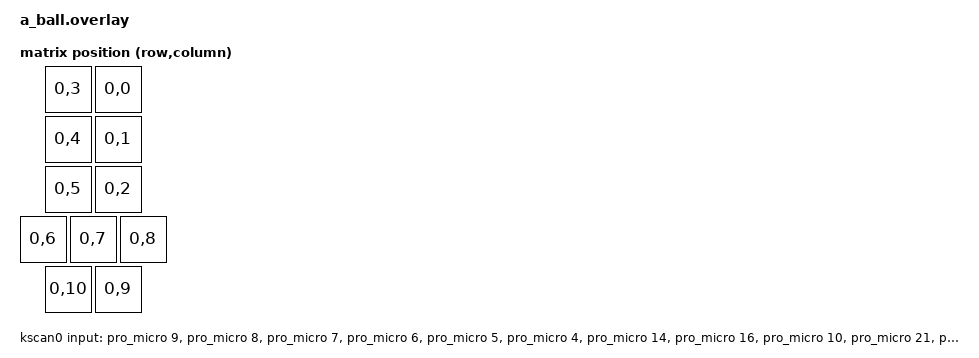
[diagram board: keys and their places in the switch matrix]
#include <dt-bindings/zmk/matrix_transform.h>
#include <input/processors.dtsi>
#include <dt-bindings/zmk/input_transform.h>
#include "a_ball.dtsi"

/ {
    chosen {
        zmk,kscan = &kscan0;
	zmk,matrix_transform = &default_transform;
    };


    default_transform: keymap_transform_0 {
        compatible = "zmk,matrix-transform";
        columns = <1>;
        rows = <11>;
	/* Map represents trackball in "Landscape" orientation, aka Finger-controlled. */
        map = <
		                 /* Ball */
	         	RC(0,3)              RC(0,0) 
		 RC(0,4)                            RC(0,1)
   		 RC(0,5) 	                    RC(0,2) 
                  /* Buttons on top of the middle deck */
  		       /* Unlock  BTSelect BTReset */ 
                          RC(0,6) RC(0,7)  RC(0,8)        
               /* Slider switches on the bottom of the middle deck */
		/* Handiness L/R   Orientation Thumb/Fingers  */
                      RC(0,10)               RC(0,9)      
        >;
    };

    kscan0: kscan {
        compatible = "zmk,kscan-gpio-direct";
        wakeup-source;
        input-gpios
            = <&pro_micro 9 (GPIO_ACTIVE_LOW | GPIO_PULL_UP)>  /* Button 1 */
            , <&pro_micro 8 (GPIO_ACTIVE_LOW | GPIO_PULL_UP)>  /* Button 2 */
            , <&pro_micro 7 (GPIO_ACTIVE_LOW | GPIO_PULL_UP)>  /* Button 3 */
            , <&pro_micro 6 (GPIO_ACTIVE_LOW | GPIO_PULL_UP)>  /* Button 4 */
            , <&pro_micro 5 (GPIO_ACTIVE_LOW | GPIO_PULL_UP)>  /* Button 5 */
            , <&pro_micro 4 (GPIO_ACTIVE_LOW | GPIO_PULL_UP)>  /* Button 6 */

            , <&pro_micro 14 (GPIO_ACTIVE_LOW | GPIO_PULL_UP)> /* Studio Unlock */
            , <&pro_micro 16 (GPIO_ACTIVE_LOW | GPIO_PULL_UP)> /* BT Select */
            , <&pro_micro 10 (GPIO_ACTIVE_LOW | GPIO_PULL_UP)> /* BT Reset  */
            , <&pro_micro 21 (GPIO_ACTIVE_LOW | GPIO_PULL_UP)> /* Handness: Pressed - Right, Released - Left */
 	    , <&pro_micro 20 (GPIO_ACTIVE_LOW | GPIO_PULL_UP)> /* Orientation: Pressed - Fingers, Released - Thumbs */
            ;
    };

};

&pinctrl {
    spi0_default: spi0_default {
        group1 {
            psels = <NRF_PSEL(SPIM_SCK, 0, 8)>,
                <NRF_PSEL(SPIM_MOSI, 0, 17)>,
                <NRF_PSEL(SPIM_MISO, 0, 17)>;
        };
    };

    spi0_sleep: spi0_sleep {
        group1 {
            psels = <NRF_PSEL(SPIM_SCK, 0, 8)>,
                <NRF_PSEL(SPIM_MOSI, 0, 17)>,
                <NRF_PSEL(SPIM_MISO, 0, 17)>;
            low-power-enable;
        };
    };
};

#include <zephyr/dt-bindings/input/input-event-codes.h>

&spi0 {
    status = "okay";
    compatible = "nordic,nrf-spim";
    pinctrl-0 = <&spi0_default>;
    pinctrl-1 = <&spi0_sleep>;
    pinctrl-names = "default", "sleep";
    cs-gpios = <&gpio0 20 GPIO_ACTIVE_LOW>;

    trackball: trackball@0 {
        status = "okay";
        compatible = "pixart,pmw3610";
        reg = <0>;
        spi-max-frequency = <2000000>;
        irq-gpios = <&gpio0 6 (GPIO_ACTIVE_LOW | GPIO_PULL_UP)>;
        cpi = <600>;
        evt-type = <INPUT_EV_REL>;
        x-input-code = <INPUT_REL_X>;
        y-input-code = <INPUT_REL_Y>;

        force-awake;
        /* keep the sensor awake while ZMK activity state is ACTIVE,
           fallback to normal downshift mode after ZMK goes into IDLE / SLEEP mode.
           thus, the sensor would be a `wakeup-source` */
    };
};
                              
/ {
  trackball_listener {
    compatible = "zmk,input-listener";
    device = <&trackball>;
    /* base processor chain on all layers */
    /* input-processors = <&zip_xy_scaler 5 5>; */

    /* layer-0 right left hand pointer */
    /* This default layer should not have any additional transformations. 
       All other layers will add to it, and then have all those extra steps removed
       when returned to the base layer.
    */

    /* layer-1 left hand pointer */
    left_hand_pointer: left_hand_pointer {
        layers           = <1>;
        input-processors = <
            &zip_xy_transform (INPUT_TRANSFORM_X_INVERT | INPUT_TRANSFORM_Y_INVERT) // Inverts the pointer direction
	   // The regular scrolling assumes the scroling wheel, which is not used here, so &zip_scroll_transform is not applicable and does not work.
	   // &zip_scroll_transform (INPUT_TRANSFORM_X_INVERT | INPUT_TRANSFORM_Y_INVERT) // Inverts the pointer direction, from the default inversion..
        >;
	process-next; // To process the scroller layer, if/when it is activated. Without this command the processing would stop here.
    };

    /* layer-2 both hand scroll override */
    either_hand_scroller: either_hand_scroller {
        layers           = <2>;
        input-processors = <
            &zip_xy_transform (INPUT_TRANSFORM_X_INVERT | INPUT_TRANSFORM_Y_INVERT) // Inverts the pointer direction.
            &zip_xy_scaler 1 15                              // Scales the scroll speed
            &zip_xy_to_scroll_mapper                         // Converts XY movement to scroll events
        >;
    };



  };
}; 
